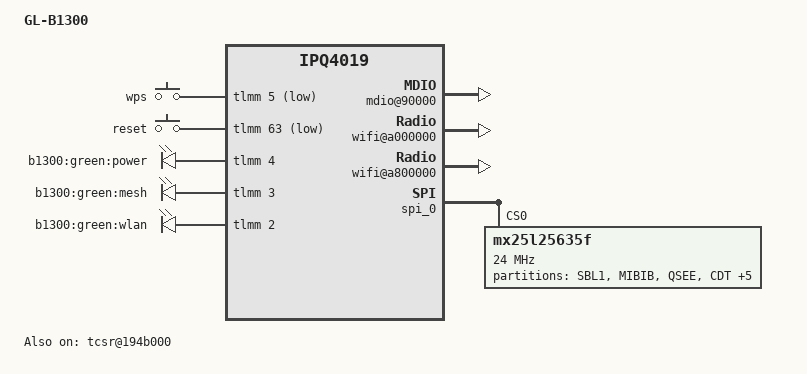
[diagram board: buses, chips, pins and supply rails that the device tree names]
/* Copyright (c) 2015, The Linux Foundation. All rights reserved.
 *
 * Permission to use, copy, modify, and/or distribute this software for any
 * purpose with or without fee is hereby granted, provided that the above
 * copyright notice and this permission notice appear in all copies.
 *
 * THE SOFTWARE IS PROVIDED "AS IS" AND THE AUTHOR DISCLAIMS ALL WARRANTIES
 * WITH REGARD TO THIS SOFTWARE INCLUDING ALL IMPLIED WARRANTIES OF
 * MERCHANTABILITY AND FITNESS. IN NO EVENT SHALL THE AUTHOR BE LIABLE FOR
 * ANY SPECIAL, DIRECT, INDIRECT, OR CONSEQUENTIAL DAMAGES OR ANY DAMAGES
 * WHATSOEVER RESULTING FROM LOSS OF USE, DATA OR PROFITS, WHETHER IN AN
 * ACTION OF CONTRACT, NEGLIGENCE OR OTHER TORTIOUS ACTION, ARISING OUT OF
 * OR IN CONNECTION WITH THE USE OR PERFORMANCE OF THIS SOFTWARE.
 *
 */

#include "qcom-ipq4019-ap.dk01.1.dtsi"
#include "qcom-ipq4019-bus.dtsi"
#include <dt-bindings/gpio/gpio.h>
#include <dt-bindings/input/input.h>
#include <dt-bindings/soc/qcom,tcsr.h>

/ {
	model = "GL-B1300";
	compatible = "glinet, b1300", "qcom,ipq4019";
	
	chosen {
		bootargs = "rootfsname=rootfs rootwait";
	};
	
	reserved-memory {
		#address-cells = <0x1>;
		#size-cells = <0x1>;
		ranges;

		rsvd1@87E00000 {
			reg = <0x87e00000 0x200000>;
			no-map;
		};
	};
	
	soc {
		tcsr@194b000 {
			/* select hostmode */
			compatible = "qcom,tcsr";
			reg = <0x194b000 0x100>;
			qcom,usb-hsphy-mode-select = <TCSR_USB_HSPHY_HOST_MODE>;
			status = "ok";
		};

		ess_tcsr@1953000 {
			compatible = "qcom,tcsr";
			reg = <0x1953000 0x1000>;
			qcom,ess-interface-select = <TCSR_ESS_PSGMII>;
		};


		tcsr@1949000 {
			compatible = "qcom,tcsr";
			reg = <0x1949000 0x100>;
			qcom,wifi_glb_cfg = <TCSR_WIFI_GLB_CFG>;
		};

		tcsr@1957000 {
			compatible = "qcom,tcsr";
			reg = <0x1957000 0x100>;
			qcom,wifi_noc_memtype_m0_m2 = <TCSR_WIFI_NOC_MEMTYPE_M0_M2>;
		};

		counter@4a1000 {
			compatible = "qcom,qca-gcnt";
			reg = <0x4a1000 0x4>;
		};

		mdio@90000 {
			status = "okay";
		};

		qca8075: ess-switch@c000000 {
			status = "okay";
		};

		ess-psgmii@98000 {
			status = "okay";
		};

		edma@c080000 {
			status = "okay";
			
			/delete-node/ gmac0;
			
			gmac0: gmac0 {
				local-mac-address = [00 00 00 00 00 00];
				qcom,phy_mdio_addr = <4>;
				qcom,poll_required = <1>;
				qcom,forced_speed = <1000>;
				qcom,forced_duplex = <1>;
				vlan_tag = <2 0x20>;
			};
			
			/delete-node/ gmac1;
			
			gmac1: gmac1 {
				local-mac-address = [00 00 00 00 00 00];
				vlan_tag = <1 0x1f>;
			};
		};

		wifi@a000000 {
			core-id = <0x0>;
			status = "okay";
			qca,msi_addr = <0x0b006040>;
			qca,msi_base = <0x40>;
			qcom,mtd-name = "ART";
			qcom,cal-offset = <0x1000>;
			qcom,cal-len = <12064>;
		};

		wifi@a800000 {
			core-id = <0x1>;
			status = "okay";
			qca,msi_addr = <0x0b006040>;
			qca,msi_base = <0x50>;
			qcom,mtd-name = "ART";
			qcom,cal-offset = <0x5000>;
			qcom,cal-len = <12064>;
		};

		cryptobam: dma@8e04000 {
			status = "okay";
		};

		crypto@8e3a000 {
			status = "okay";
		};
	};

	gpio-keys {
		compatible = "gpio-keys";

		wps {
			label = "wps";
			gpios = <&tlmm 5 GPIO_ACTIVE_LOW>;
			linux,code = <KEY_WPS_BUTTON>;
		};
		reset {
			label = "reset";
			gpios = <&tlmm 63 GPIO_ACTIVE_LOW>;
			linux,code = <KEY_RESTART>;
		};
	};
	
	gpio-leds {
		compatible = "gpio-leds";

		power {
			label = "b1300:green:power";
			gpios = <&tlmm 4 GPIO_ACTIVE_HIGH>;
			default-state = "on";
		};
		mesh {
			label = "b1300:green:mesh";
			gpios = <&tlmm 3 GPIO_ACTIVE_HIGH>;
		};
		wlan {
			label = "b1300:green:wlan";
			gpios = <&tlmm 2 GPIO_ACTIVE_HIGH>;
		};
	};
};

&spi_0 { /* BLSP1 QUP1 */
	status = "ok";

	mx25l25635e@0 {
		status = "disabled";
	};

	mx25l25635f@0 {
		compatible = "mx25l25635f", "jedec,spi-nor";
		#address-cells = <1>;
		#size-cells = <0>;
		reg = <0>;
		spi-max-frequency = <24000000>;
		status = "ok";
		m25p,fast-read;

		partitions {
			compatible = "fixed-partitions";
			#address-cells = <1>;
			#size-cells = <1>;

			partition0@0 {
				label = "SBL1";
				reg = <0x00000000 0x00040000>;
				read-only;
			};
			partition1@40000 {
				label = "MIBIB";
				reg = <0x00040000 0x00020000>;
				read-only;
			};
			partition2@60000 {
				label = "QSEE";
				reg = <0x00060000 0x00060000>;
				read-only;
			};
			partition3@c0000 {
				label = "CDT";
				reg = <0x000c0000 0x00010000>;
				read-only;
			};
			partition4@d0000 {
				label = "DDRPARAMS";
				reg = <0x000d0000 0x00010000>;
				read-only;
			};
			partition5@e0000 {
				label = "APPSBLENV"; /* u-boot env*/
				reg = <0x000e0000 0x00010000>;
				read-only;
			};
			partition6@f0000 {
				label = "APPSBL"; /* u-boot */
				reg = <0x000f0000 0x00080000>;
				read-only;
			};
			partition7@170000 {
				/* make a backup of this partition! */
				label = "ART";
				reg = <0x00170000 0x00010000>;
				read-only;
			};
			partition8@180000 {
				label = "firmware";
				reg = <0x00180000 0x01A00000>;
			};
		};
	};
};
